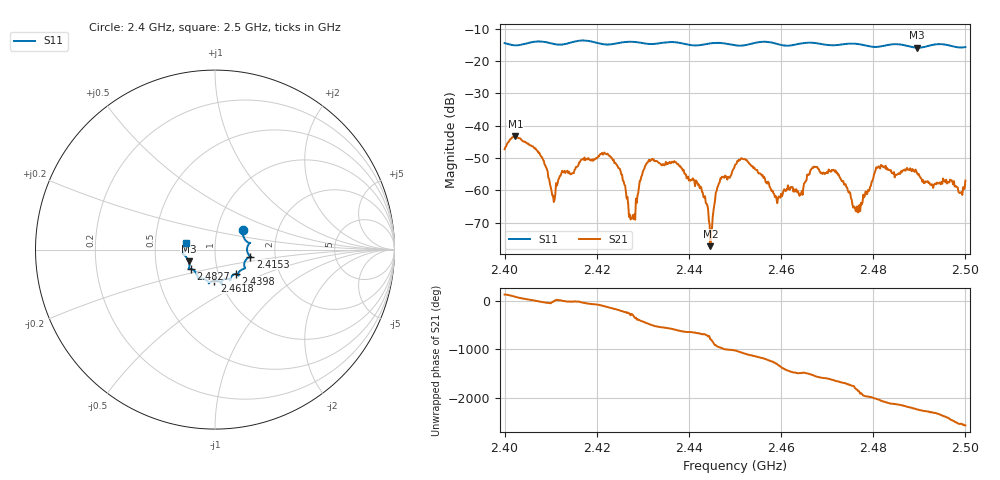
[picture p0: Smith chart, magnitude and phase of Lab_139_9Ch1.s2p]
# Hz S RI R 50
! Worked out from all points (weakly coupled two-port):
!   601 points, 2.4 GHz to 2.5 GHz, reference 50 ohm
!   highest |S21| = -43.25 dB at 2.4023 GHz (marker M1); lowest = -77.3 dB at 2.4447 GHz (marker M2)
!   lowest |S11| = -15.9 dB at 2.4895 GHz (marker M3), VSWR 1.38, Z = 37 - j5 ohm
!   |S11| at or under -10 dB: start of sweep to end of sweep
!   S12 and S22 are empty: the file has one direction only
!   S11 on the Smith chart (normalised r, x): 2.4 GHz: 1.33, +0.30; 2.4153 GHz: 1.48, -0.12; 2.4398 GHz: 1.21, -0.34; 2.4618 GHz: 0.94, -0.33; 2.4827 GHz: 0.75, -0.17; 2.5 GHz: 0.72, +0.06
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2.4e9  0.1553 0.107  -0.00239 0.00358  0 0  0 0
2.402333e9  0.1597 0.0689  0.0016 0.00669  0 0  0 0
2.407667e9  0.1963 0.0379  0.00333 -0.00136  0 0  0 0
2.4105e9  0.1827 0.0209  0.00073 -0.000405  0 0  0 0
2.415333e9  0.1965 -0.0392  0.00202 -0.000626  0 0  0 0
2.416667e9  0.2023 -0.0432  0.00236 -0.0018  0 0  0 0
2.423167e9  0.1628 -0.0785  -0.00293 -0.00131  0 0  0 0
2.427833e9  0.1675 -0.1042  0.000203 0.00036  0 0  0 0
2.4305e9  0.1477 -0.1128  -0.000146 -0.00237  0 0  0 0
2.433333e9  0.1298 -0.134  -0.00269 4.97e-06  0 0  0 0
2.439833e9  0.1153 -0.1359  0.000459 0.00156  0 0  0 0
2.444667e9  0.084 -0.167  2.44e-05 -0.000134  0 0  0 0
2.446667e9  0.0844 -0.17  -0.000589 0.00119  0 0  0 0
2.45e9  0.0653 -0.162  0.00149 0.00196  0 0  0 0
2.461833e9  -0.00347 -0.1727  0.000984 -0.000242  0 0  0 0
2.466667e9  -0.0346 -0.1879  -5.47e-05 -0.00214  0 0  0 0
2.471833e9  -0.0682 -0.1614  -0.00162 0.00122  0 0  0 0
2.476667e9  -0.0962 -0.1551  0.000225 -0.000394  0 0  0 0
2.482667e9  -0.135 -0.1087  0.000856 0.00223  0 0  0 0
2.483333e9  -0.1401 -0.1083  0.00138 0.00156  0 0  0 0
2.4895e9  -0.1458 -0.0659  0.000179 -0.00184  0 0  0 0
2.5e9  -0.1593 0.0386  0.000856 -0.00112  0 0  0 0
